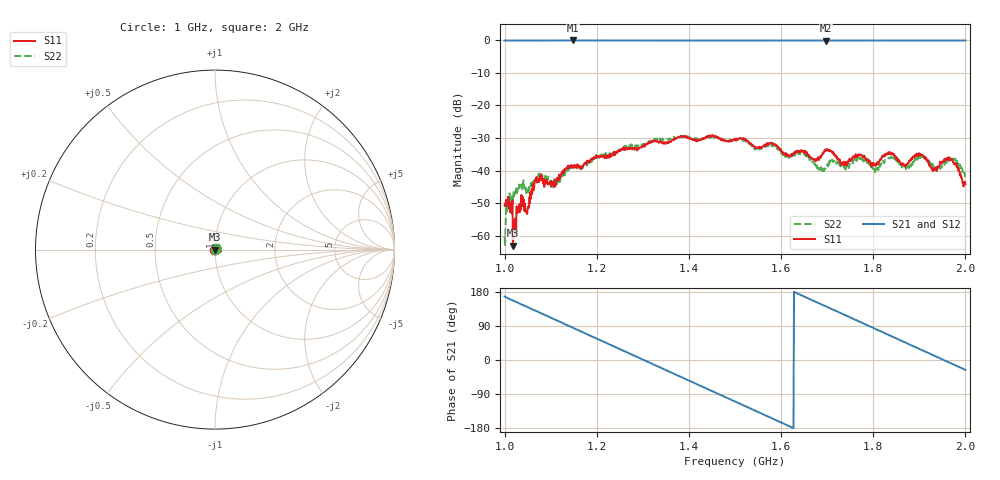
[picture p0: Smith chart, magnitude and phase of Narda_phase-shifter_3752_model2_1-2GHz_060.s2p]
#  HZ  S  DB  R  50.00
! Rohde & Schwarz Vector Network Analyzer
! Rohde-Schwarz,ZNB8-4Port,1311601044102961,2.82
! Created: UTC 1/17/2019, 2:47:54 PM
! freq[Hz]  db:S11  ang:S11  db:S21  ang:S21  db:S12  ang:S12  db:S22  ang:S22
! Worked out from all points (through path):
!   1001 points, 1 GHz to 2 GHz, reference 50 ohm
!   highest |S21| = -0.04 dB at 1.149 GHz (marker M1); lowest = -0.1 dB at 1.697 GHz (marker M2)
!   group delay of S21, straight-line fit = 1.54 ns
!   lowest |S11| = -63.1 dB at 1.018 GHz (marker M3), VSWR 1.00, Z = 50 - j0.0594 ohm
!   |S11| at or under -10 dB: start of sweep to end of sweep
!   |S22| runs from -63.2 to -29.3 dB; largest |S21 - S12| = 0.011
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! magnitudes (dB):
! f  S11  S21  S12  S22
! 1 GHz  -50.7  -0.1  -0.1  -60.2
! 1.008 GHz  -48.1  -0.1  -0.1  -49.7
! 1.018 GHz  -63.1  -0.1  -0.1  -50.1
! 1.023 GHz  -54.7  -0.1  -0.1  -46.7
! 1.037 GHz  -51.0  -0.1  -0.1  -44.3
! 1.05 GHz  -51.4  -0.1  -0.1  -46.5
! 1.07 GHz  -43.5  -0.1  -0.1  -42.0
! 1.11 GHz  -44.9  0.0  -0.1  -44.0
! 1.149 GHz  -38.8  0.0  -0.1  -38.4
! 1.167 GHz  -38.7  0.0  -0.1  -39.2
! 1.334 GHz  -31.1  -0.1  -0.1  -30.1
! 1.5 GHz  -30.5  -0.1  -0.1  -30.7
! 1.667 GHz  -36.1  -0.1  -0.1  -37.2
! 1.697 GHz  -34.0  -0.1  -0.1  -38.9
! 1.735 GHz  -38.2  -0.1  -0.1  -38.9
! 1.807 GHz  -38.0  -0.1  -0.1  -39.0
! 1.834 GHz  -34.6  -0.1  -0.1  -36.1
! 1.866 GHz  -38.4  -0.1  -0.1  -38.9
! 1.903 GHz  -34.9  -0.1  -0.1  -36.0
! 1.934 GHz  -39.3  -0.1  -0.1  -38.9
! 1.968 GHz  -36.5  -0.1  -0.1  -36.4
! 2 GHz  -44.1  -0.1  -0.1  -41.9
